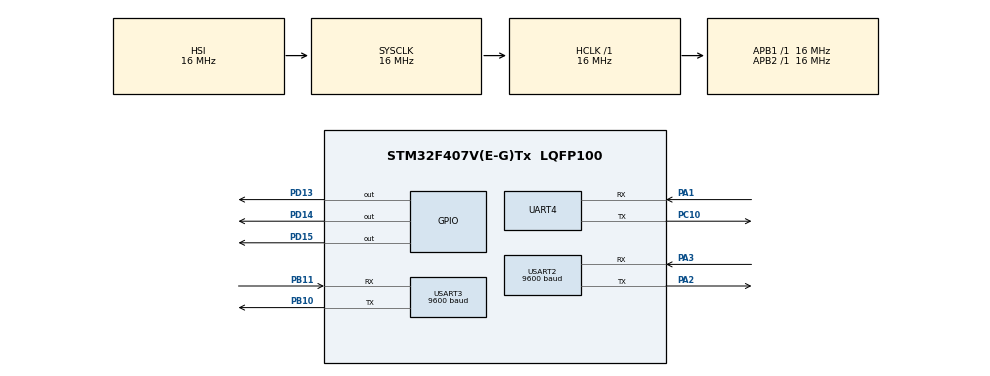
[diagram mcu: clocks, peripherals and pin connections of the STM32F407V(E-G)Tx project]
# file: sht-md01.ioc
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Dma.Request0=UART4_RX
Dma.Request1=UART4_TX
Dma.UART4_RX.0.Direction=DMA_PERIPH_TO_MEMORY
Dma.UART4_RX.0.FIFOMode=DMA_FIFOMODE_DISABLE
Dma.UART4_RX.0.Instance=DMA1_Stream2
Dma.UART4_RX.0.MemDataAlignment=DMA_MDATAALIGN_BYTE
Dma.UART4_RX.0.MemInc=DMA_MINC_ENABLE
Dma.UART4_RX.0.Mode=DMA_CIRCULAR
Dma.UART4_RX.0.PeriphDataAlignment=DMA_PDATAALIGN_BYTE
Dma.UART4_RX.0.PeriphInc=DMA_PINC_DISABLE
Dma.UART4_RX.0.Priority=DMA_PRIORITY_LOW
Dma.UART4_TX.1.Direction=DMA_MEMORY_TO_PERIPH
Dma.UART4_TX.1.FIFOMode=DMA_FIFOMODE_DISABLE
Dma.UART4_TX.1.Instance=DMA1_Stream4
Dma.UART4_TX.1.MemDataAlignment=DMA_MDATAALIGN_BYTE
Dma.UART4_TX.1.MemInc=DMA_MINC_ENABLE
Dma.UART4_TX.1.Mode=DMA_NORMAL
Dma.UART4_TX.1.PeriphDataAlignment=DMA_PDATAALIGN_BYTE
Dma.UART4_TX.1.PeriphInc=DMA_PINC_DISABLE
Dma.UART4_TX.1.Priority=DMA_PRIORITY_LOW
Mcu.Family=STM32F4
Mcu.Name=STM32F407V(E-G)Tx
Mcu.Package=LQFP100
NVIC.DMA1_Stream2_IRQn=true\:0\:0\:false\:false\:true\:false\:true\:true
NVIC.DMA1_Stream4_IRQn=true\:0\:0\:false\:false\:true\:false\:true\:true
NVIC.PriorityGroup=NVIC_PRIORITYGROUP_4
NVIC.TIM6_DAC_IRQn=true\:0\:0\:false\:false\:true\:true\:true\:true
NVIC.UART4_IRQn=true\:0\:0\:false\:false\:true\:true\:true\:true
PA1.Mode=Asynchronous
PA1.Signal=UART4_RX
PA13.Mode=Serial_Wire
PA13.Signal=SYS_JTMS-SWDIO
PA14.Mode=Serial_Wire
PA14.Signal=SYS_JTCK-SWCLK
PA2.Mode=Asynchronous
PA2.Signal=USART2_TX
PA3.Mode=Asynchronous
PA3.Signal=USART2_RX
PB10.Mode=Asynchronous
PB10.Signal=USART3_TX
PB11.Mode=Asynchronous
PB11.Signal=USART3_RX
PC10.Mode=Asynchronous
PC10.Signal=UART4_TX
PD13.Signal=GPIO_Output
PD14.Signal=GPIO_Output
PD15.Signal=GPIO_Output
ProjectManager.HeapSize=0x200
ProjectManager.StackSize=0x400
ProjectManager.TargetToolchain=MDK-ARM V5.32
RCC.AHBFreq_Value=16000000
RCC.APB1Freq_Value=16000000
RCC.APB1TimFreq_Value=16000000
RCC.APB2Freq_Value=16000000
RCC.APB2TimFreq_Value=16000000
RCC.CortexFreq_Value=16000000
RCC.HCLKFreq_Value=16000000
RCC.HSE_VALUE=8000000
RCC.HSI_VALUE=16000000
RCC.LSE_VALUE=32768
RCC.SYSCLKFreq_VALUE=16000000
RCC.VCOOutputFreq_Value=192000000
TIM6.Period=4999
TIM6.Prescaler=15999
UART4.VirtualMode=Asynchronous
USART2.BaudRate=9600
USART2.VirtualMode=VM_ASYNC
USART3.BaudRate=9600
USART3.VirtualMode=VM_ASYNC
VP_TIM6_VS_ClockSourceINT.Mode=Enable_Timer
board=custom

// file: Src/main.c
/* USER CODE BEGIN Header */
/**
  ******************************************************************************
  * @file           : main.c
  * @brief          : Smart Energy Monitor - STM32F407VGT6
  *
  * USART2 : Modbus RS485 sensors, 9600 8N1
  * USART3 : Diagnostic terminal, 9600 8N1
  * UART4 : JSON telemetry to Raspberry Pi, 115200 8N1
  *
  * IMPORTANT:
  * UART4 TX status OK means the DMA transmission completed successfully.
  * It does NOT prove that the Raspberry Pi received or parsed the frame.
  ******************************************************************************
  */
/* USER CODE END Header */
#include "main.h"

/* USER CODE BEGIN Includes */
#include "ModbusRS485.h"
#include "MPR47S.h"
#include "EEM375.h"
#include "sht20.h"

#include <stdio.h>
#include <string.h>
#include <stdarg.h>
#include <stdint.h>
/* USER CODE END Includes */

/* USER CODE BEGIN PD */
#define TXBUF_SIZE       2048U
#define SHT_COUNT        2U
#define MPR_COUNT        1U
#define UART3_TX_TIMEOUT 1000U
#define UART4_TX_TIMEOUT  1000U
#define UART4_RX_BUFFER_SIZE 256U
/* USER CODE END PD */

TIM_HandleTypeDef htim6;

UART_HandleTypeDef huart4;
UART_HandleTypeDef huart2;
UART_HandleTypeDef huart3;
DMA_HandleTypeDef hdma_uart4_rx;
DMA_HandleTypeDef hdma_uart4_tx;

/* USER CODE BEGIN PV */
static char txbuf[TXBUF_SIZE];
static char framebuf[TXBUF_SIZE];
static uint8_t uart4_rx_buffer[UART4_RX_BUFFER_SIZE];

static uint32_t telemetry_seq = 0U;

MPR47S_t mpr[MPR_COUNT];
uint8_t mpr_id[MPR_COUNT] = {5U};
uint8_t mpr_alive[MPR_COUNT] = {0U};

SHT20_t sht[SHT_COUNT];
uint8_t sht_id[SHT_COUNT] = {1U, 3U};
uint8_t sht_alive[SHT_COUNT] = {0U};
/* USER CODE END PV */

void SystemClock_Config(void);
static void MX_GPIO_Init(void);
static void MX_DMA_Init(void);
static void MX_USART2_UART_Init(void);
static void MX_TIM6_Init(void);
static void MX_UART4_Init(void);
static void MX_USART3_UART_Init(void);
/* USER CODE BEGIN PFP */
static void UART_VPrintf(UART_HandleTypeDef *uart,
                         const char *fmt,
                         va_list args);
static HAL_StatusTypeDef UART_TransmitDMA(UART_HandleTypeDef *uart,
                                          uint8_t *data,
                                          uint16_t size,
                                          uint32_t timeout);
void UART_Printf(const char *fmt, ...);
static void Frame_Printf(const char *fmt, ...);
static const char *Modbus_StatusName(int status);

static void Raspberry_SendBootFrame(void);
static void Raspberry_SendErrorFrame(const char *sensor, uint8_t id);
static void Raspberry_SendSHTFrame(const SHT20_t *sensor, uint8_t read_ok);
static void Raspberry_SendMPRFrame(const MPR47S_t *sensor, uint8_t read_ok);

static void LED_On(uint16_t pin);
static void LED_Off(uint16_t pin);
static void LED_Blink(uint16_t pin, uint8_t n, uint16_t delay_ms);

static void Sensors_Init(void);
static void SHT_ReadAll(void);
static void MPR_ReadAll(void);
/* USER CODE END PFP */

/* USER CODE BEGIN 0 */

static const char *Modbus_StatusName(int status)
{
    switch (status)
    {
    case 0:
        return "OK";
    case -1:
        return "TIMEOUT";
    case -2:
        return "SLAVE";
    case -3:
        return "CRC";
    case -4:
        return "FRAME";
    case -5:
        return "EXCEPTION";
    case -6:
        return "TX_ERROR";
    default:
        return "UNKNOWN";
    }
}

static void UART_VPrintf(UART_HandleTypeDef *uart,
                         const char *fmt,
                         va_list args)
{
    int len = vsnprintf(txbuf, sizeof(txbuf), fmt, args);

    if ((len < 0) || (len >= (int)sizeof(txbuf)))
    {
        Error_Handler();
        return;
    }

    if ((len > 0) &&
        (HAL_UART_Transmit(uart, (uint8_t *)txbuf, (uint16_t)len,
                           UART3_TX_TIMEOUT) != HAL_OK))
    {
        Error_Handler();
    }
}

void UART_Printf(const char *fmt, ...)
{
    va_list args;

    va_start(args, fmt);
    UART_VPrintf(&huart3, fmt, args);
    va_end(args);
}

static HAL_StatusTypeDef UART_TransmitDMA(UART_HandleTypeDef *uart,
                                          uint8_t *data,
                                          uint16_t size,
                                          uint32_t timeout)
{
    HAL_StatusTypeDef status = HAL_UART_Transmit_DMA(uart, data, size);
    uint32_t start_tick;

    if (status != HAL_OK)
    {
        return status;
    }

    start_tick = HAL_GetTick();
    while (uart->gState != HAL_UART_STATE_READY)
    {
        if ((HAL_GetTick() - start_tick) >= timeout)
        {
            (void)HAL_UART_AbortTransmit(uart);
            return HAL_TIMEOUT;
        }
    }

    return HAL_OK;
}

/* ================= UART4 JSON TRANSMISSION ================= */

static void Frame_Printf(const char *fmt, ...)
{
    va_list args;
    int len;
    uint16_t terminal_len;

    va_start(args, fmt);
    len = vsnprintf(framebuf, sizeof(framebuf), fmt, args);
    va_end(args);

    if ((len < 0) || (len >= (int)sizeof(framebuf)))
    {
        Error_Handler();
        return;
    }

    UART_Printf("UART4 TX (%d bytes):\r\n", len);
    terminal_len = (uint16_t)len;
    if ((terminal_len > 0U) && (framebuf[terminal_len - 1U] == '\n'))
    {
        terminal_len--;
    }
    if (terminal_len > 0U)
    {
        if (HAL_UART_Transmit(&huart3, (uint8_t *)framebuf,
                              terminal_len, UART3_TX_TIMEOUT) != HAL_OK)
        {
            Error_Handler();
        }
    }
    UART_Printf("\r\n");

    HAL_StatusTypeDef status =
        UART_TransmitDMA(&huart4,
                         (uint8_t *)framebuf,
                         (uint16_t)len,
                         UART4_TX_TIMEOUT);

    if (status != HAL_OK)
    {
        UART_Printf("UART4 DMA TX failed (HAL status=%d)\r\n", (int)status);
        Error_Handler();
    }
}

/* ================= JSON BOOT / ERROR FRAMES ================= */

static void Raspberry_SendBootFrame(void)
{
    Frame_Printf("{\"v\":1,\"event\":\"boot\"}\n");
}

static void Raspberry_SendErrorFrame(const char *sensor, uint8_t id)
{
    Frame_Printf(
        "{\"v\":1,\"sensor\":\"%s\",\"id\":%u,"
        "\"seq\":%lu,\"uptime_ms\":%lu,"
        "\"status\":\"error\","
        "\"error\":\"acquisition_failed\",\"data\":null}\n",
        sensor,
        (unsigned int)id,
        (unsigned long)telemetry_seq++,
        (unsigned long)HAL_GetTick());
}

/* ================= JSON SHT20 FRAME ================= */

static void Raspberry_SendSHTFrame(const SHT20_t *sensor,
                                   uint8_t read_ok)
{
    if (read_ok == 0U)
    {
        Raspberry_SendErrorFrame("sht20", sensor->addr);
        return;
    }

    Frame_Printf(
        "{\"v\":1,\"sensor\":\"sht20\",\"id\":%u,"
        "\"seq\":%lu,\"uptime_ms\":%lu,"
        "\"status\":\"ok\",\"error\":\"\","
        "\"data\":{\"temperature_c\":%.1f,"
        "\"humidity_pct\":%.1f}}\n",
        (unsigned int)sensor->addr,
        (unsigned long)telemetry_seq++,
        (unsigned long)HAL_GetTick(),
        (double)sensor->temp,
        (double)sensor->hum);
}

/* ================= JSON MPR47S FRAME ================= */

static void Raspberry_SendMPRFrame(const MPR47S_t *m,
                                   uint8_t read_ok)
{
    if (read_ok == 0U)
    {
        Raspberry_SendErrorFrame("mpr47s", m->id);
        return;
    }

    Frame_Printf(
        "{\"v\":1,\"sensor\":\"mpr47s\",\"id\":%u,"
        "\"seq\":%lu,\"uptime_ms\":%lu,"
        "\"status\":\"ok\",\"error\":\"\","
        "\"data\":{"
        "\"voltage_v\":[%.1f,%.1f,%.1f,%.1f],"
        "\"line_voltage_v\":[%.1f,%.1f,%.1f],"
        "\"current_a\":[%.3f,%.3f,%.3f,%.3f],"
        "\"active_power_w\":[%.3f,%.3f,%.3f,%.3f],"
        "\"reactive_power_var\":[%.3f,%.3f,%.3f,%.3f],"
        "\"apparent_power_va\":[%.3f,%.3f,%.3f,%.3f],"
        "\"power_factor\":[%.3f,%.3f,%.3f],"
        "\"frequency_hz\":%.2f}}\n",
        (unsigned int)m->id,
        (unsigned long)telemetry_seq++,
        (unsigned long)HAL_GetTick(),
        (double)m->V1, (double)m->V2,
        (double)m->V3, (double)m->V4,
        (double)m->VL12, (double)m->VL23, (double)m->VL31,
        (double)m->I1, (double)m->I2,
        (double)m->I3, (double)m->IN,
        (double)m->P1, (double)m->P2,
        (double)m->P3, (double)m->P_Total,
        (double)m->Q1, (double)m->Q2,
        (double)m->Q3, (double)m->Q_Total,
        (double)m->S1, (double)m->S2,
        (double)m->S3, (double)m->S_Total,
        (double)m->PF1, (double)m->PF2,
        (double)m->PF3, (double)m->Freq);
}

/* ================= LED CONTROL ================= */

#define LED_PORT     GPIOD
#define LED_SHT_PIN  GPIO_PIN_13
#define LED_MPR_PIN  GPIO_PIN_14

static void LED_On(uint16_t pin)
{
    HAL_GPIO_WritePin(LED_PORT, pin, GPIO_PIN_SET);
}

static void LED_Off(uint16_t pin)
{
    HAL_GPIO_WritePin(LED_PORT, pin, GPIO_PIN_RESET);
}

static void LED_Blink(uint16_t pin, uint8_t n, uint16_t delay_ms)
{
    uint8_t i;

    for (i = 0U; i < n; i++)
    {
        LED_On(pin);
        HAL_Delay(delay_ms);
        LED_Off(pin);
        HAL_Delay(delay_ms);
    }
}

/* ================= SENSOR INITIALIZATION ================= */

static void Sensors_Init(void)
{
    uint32_t i;

    for (i = 0U; i < MPR_COUNT; i++)
    {
        mpr[i].id = mpr_id[i];
        mpr_alive[i] = 0U;
    }

    for (i = 0U; i < SHT_COUNT; i++)
    {
        sht[i].addr = sht_id[i];
        sht_alive[i] = 0U;
    }
}

/* ================= SENSOR ACQUISITION ================= */

static void SHT_ReadAll(void)
{
    uint32_t i;

    for (i = 0U; i < SHT_COUNT; i++)
    {
        uint8_t read_ok = SHT20_Read(&sht[i]);

        sht_alive[i] = read_ok;
        Raspberry_SendSHTFrame(&sht[i], read_ok);

        if (read_ok != 0U)
        {
            LED_Blink(LED_SHT_PIN, 1U, 50U);
        }
        else
        {
            UART_Printf("SHT20 id=%u Modbus=%s (%d)\r\n",
                        (unsigned int)sht[i].addr,
                        Modbus_StatusName(sht[i].last_status),
                        sht[i].last_status);
            LED_Blink(LED_SHT_PIN, 2U, 150U);
        }

        /* Give the shared RS485 bus time between sensor transactions. */
        HAL_Delay(1000U);
    }
}

static void MPR_ReadAll(void)
{
    uint32_t i;

    for (i = 0U; i < MPR_COUNT; i++)
    {
        uint8_t read_ok = MPR47S_Read(&mpr[i]);

        mpr_alive[i] = read_ok;
        Raspberry_SendMPRFrame(&mpr[i], read_ok);

        if (read_ok != 0U)
        {
            LED_Blink(LED_MPR_PIN, 1U, 50U);
        }
        else
        {
            UART_Printf("MPR47S id=%u Modbus=%s (%d)\r\n",
                        (unsigned int)mpr[i].id,
                        Modbus_StatusName(mpr[i].last_status),
                        mpr[i].last_status);
            LED_Blink(LED_MPR_PIN, 2U, 150U);
        }

        HAL_Delay(500U);
    }
}

/* USER CODE END 0 */

int main(void)
{

  /* MCU Configuration--------------------------------------------------------*/

  /* Reset of all peripherals, Initializes the Flash interface and the Systick. */
  HAL_Init();

  /* Configure the system clock */
  SystemClock_Config();

  /* Initialize all configured peripherals */
  MX_GPIO_Init();
  MX_DMA_Init();
  MX_USART2_UART_Init();
  MX_TIM6_Init();
  MX_UART4_Init();
  MX_USART3_UART_Init();
  /* USER CODE BEGIN 2 */

  Modbus_Init(&huart2);
  Sensors_Init();

  UART_Printf("\r\n========================================\r\n");
  UART_Printf(" SMART ENERGY MONITOR - STM32F407\r\n");
  UART_Printf(" USART2: Modbus RS485, 9600 8N1\r\n");
  UART_Printf(" USART3: Diagnostic terminal, 9600 8N1\r\n");
  UART_Printf(" UART4: Raspberry Pi, 115200 8N1 (DMA)\r\n");
  UART_Printf("========================================\r\n");

  /* Send a JSON boot frame to the Raspberry Pi. */
  Raspberry_SendBootFrame();

  HAL_Delay(1000U);

  /* USER CODE END 2 */

  /* Infinite loop */
  /* USER CODE BEGIN WHILE */
  while (1)
  {
      SHT_ReadAll();
      HAL_Delay(2000U);

      MPR_ReadAll();
      HAL_Delay(3000U);
  }
    /* USER CODE END WHILE */

}

void SystemClock_Config(void)
{
  RCC_OscInitTypeDef RCC_OscInitStruct = {0};
  RCC_ClkInitTypeDef RCC_ClkInitStruct = {0};

  /** Configure the main internal regulator output voltage
  */
  __HAL_RCC_PWR_CLK_ENABLE();
  __HAL_PWR_VOLTAGESCALING_CONFIG(PWR_REGULATOR_VOLTAGE_SCALE1);

  /** Initializes the RCC Oscillators according to the specified parameters
  * in the RCC_OscInitTypeDef structure.
  */
  RCC_OscInitStruct.OscillatorType = RCC_OSCILLATORTYPE_HSI;
  RCC_OscInitStruct.HSIState = RCC_HSI_ON;
  RCC_OscInitStruct.HSICalibrationValue = RCC_HSICALIBRATION_DEFAULT;
  RCC_OscInitStruct.PLL.PLLState = RCC_PLL_NONE;
  if (HAL_RCC_OscConfig(&RCC_OscInitStruct) != HAL_OK)
  {
    Error_Handler();
  }

  /** Initializes the CPU, AHB and APB buses clocks
  */
  RCC_ClkInitStruct.ClockType = RCC_CLOCKTYPE_HCLK|RCC_CLOCKTYPE_SYSCLK
                              |RCC_CLOCKTYPE_PCLK1|RCC_CLOCKTYPE_PCLK2;
  RCC_ClkInitStruct.SYSCLKSource = RCC_SYSCLKSOURCE_HSI;
  RCC_ClkInitStruct.AHBCLKDivider = RCC_SYSCLK_DIV1;
  RCC_ClkInitStruct.APB1CLKDivider = RCC_HCLK_DIV1;
  RCC_ClkInitStruct.APB2CLKDivider = RCC_HCLK_DIV1;

  if (HAL_RCC_ClockConfig(&RCC_ClkInitStruct, FLASH_LATENCY_0) != HAL_OK)
  {
    Error_Handler();
  }
}

static void MX_TIM6_Init(void)
{

  TIM_MasterConfigTypeDef sMasterConfig = {0};

  htim6.Instance = TIM6;
  htim6.Init.Prescaler = 15999;
  htim6.Init.CounterMode = TIM_COUNTERMODE_UP;
  htim6.Init.Period = 4999;
  htim6.Init.AutoReloadPreload = TIM_AUTORELOAD_PRELOAD_DISABLE;
  if (HAL_TIM_Base_Init(&htim6) != HAL_OK)
  {
    Error_Handler();
  }
  sMasterConfig.MasterOutputTrigger = TIM_TRGO_RESET;
  sMasterConfig.MasterSlaveMode = TIM_MASTERSLAVEMODE_DISABLE;
  if (HAL_TIMEx_MasterConfigSynchronization(&htim6, &sMasterConfig) != HAL_OK)
  {
    Error_Handler();
  }

}

static void MX_UART4_Init(void)
{

  huart4.Instance = UART4;
  huart4.Init.BaudRate = 115200;
  huart4.Init.WordLength = UART_WORDLENGTH_8B;
  huart4.Init.StopBits = UART_STOPBITS_1;
  huart4.Init.Parity = UART_PARITY_NONE;
  huart4.Init.Mode = UART_MODE_TX_RX;
  huart4.Init.HwFlowCtl = UART_HWCONTROL_NONE;
  huart4.Init.OverSampling = UART_OVERSAMPLING_16;
  if (HAL_UART_Init(&huart4) != HAL_OK)
  {
    Error_Handler();
  }

}

static void MX_USART2_UART_Init(void)
{

  huart2.Instance = USART2;
  huart2.Init.BaudRate = 9600;
  huart2.Init.WordLength = UART_WORDLENGTH_8B;
  huart2.Init.StopBits = UART_STOPBITS_1;
  huart2.Init.Parity = UART_PARITY_NONE;
  huart2.Init.Mode = UART_MODE_TX_RX;
  huart2.Init.HwFlowCtl = UART_HWCONTROL_NONE;
  huart2.Init.OverSampling = UART_OVERSAMPLING_16;
  if (HAL_UART_Init(&huart2) != HAL_OK)
  {
    Error_Handler();
  }

}

static void MX_USART3_UART_Init(void)
{

  huart3.Instance = USART3;
  huart3.Init.BaudRate = 9600;
  huart3.Init.WordLength = UART_WORDLENGTH_8B;
  huart3.Init.StopBits = UART_STOPBITS_1;
  huart3.Init.Parity = UART_PARITY_NONE;
  huart3.Init.Mode = UART_MODE_TX_RX;
  huart3.Init.HwFlowCtl = UART_HWCONTROL_NONE;
  huart3.Init.OverSampling = UART_OVERSAMPLING_16;
  if (HAL_UART_Init(&huart3) != HAL_OK)
  {
    Error_Handler();
  }

}

static void MX_DMA_Init(void)
{

  /* DMA controller clock enable */
  __HAL_RCC_DMA1_CLK_ENABLE();

  /* DMA interrupt init */
  /* DMA1_Stream2_IRQn interrupt configuration */
  HAL_NVIC_SetPriority(DMA1_Stream2_IRQn, 0, 0);
  HAL_NVIC_EnableIRQ(DMA1_Stream2_IRQn);
  /* DMA1_Stream4_IRQn interrupt configuration */
  HAL_NVIC_SetPriority(DMA1_Stream4_IRQn, 0, 0);
  HAL_NVIC_EnableIRQ(DMA1_Stream4_IRQn);

}

static void MX_GPIO_Init(void)
{
  GPIO_InitTypeDef GPIO_InitStruct = {0};

  /* GPIO Ports Clock Enable */
  __HAL_RCC_GPIOA_CLK_ENABLE();
  __HAL_RCC_GPIOB_CLK_ENABLE();
  __HAL_RCC_GPIOD_CLK_ENABLE();
  __HAL_RCC_GPIOC_CLK_ENABLE();

  /*Configure GPIO pin Output Level */
  HAL_GPIO_WritePin(GPIOD, GPIO_PIN_13|GPIO_PIN_14|GPIO_PIN_15, GPIO_PIN_RESET);

  /*Configure GPIO pins : PD13 PD14 PD15 */
  GPIO_InitStruct.Pin = GPIO_PIN_13|GPIO_PIN_14|GPIO_PIN_15;
  GPIO_InitStruct.Mode = GPIO_MODE_OUTPUT_PP;
  GPIO_InitStruct.Pull = GPIO_NOPULL;
  GPIO_InitStruct.Speed = GPIO_SPEED_FREQ_LOW;
  HAL_GPIO_Init(GPIOD, &GPIO_InitStruct);

}

/* USER CODE BEGIN 4 */
/* Add project-specific callbacks here if required. */
/* USER CODE END 4 */

void Error_Handler(void)
{
  __disable_irq();
  while (1)
  {
  }
}
